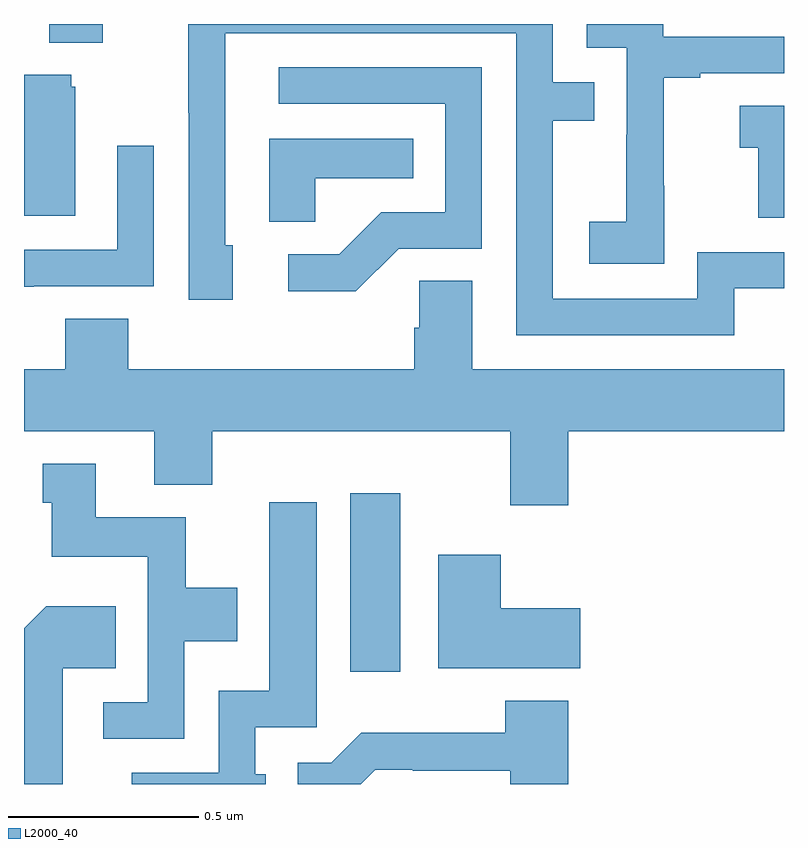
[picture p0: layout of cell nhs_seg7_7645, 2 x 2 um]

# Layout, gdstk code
import gdstk
lib = gdstk.Library(unit=1e-6, precision=1e-09)
def R(c, l, rs):  # rectangles x0, y0, x1, y1
    for r in rs: c.add(gdstk.rectangle(r[:2], r[2:], *l))
def P(c, l, *ps):  # polygons
    for p in ps: c.add(gdstk.Polygon(p, *l))
L2000_40 = (2000, 40)

nhs_seg7_7645 = lib.new_cell('nhs_seg7_7645')
R(nhs_seg7_7645, L2000_40, [(214.859,1021.296,214.99,1021.765), (214.067,1022.951,214.207,1023)])
P(nhs_seg7_7645, L2000_40, [(215.685,1022.575),(215.684,1022.575),(215.684,1022.859),(215.779,1022.859),(215.779,1022.871),(216,1022.871),(216,1022.967),(215.682,1022.967),(215.682,1023),(215.481,1023),(215.481,1022.937),(215.586,1022.937),(215.586,1022.708),(215.585,1022.708),(215.585,1022.479),(215.487,1022.479),(215.487,1022.369),(215.685,1022.369)],
  [(215.869,1022.304),(216,1022.304),(216,1022.4),(215.772,1022.4),(215.772,1022.277),(215.391,1022.277),(215.391,1022.746),(215.501,1022.746),(215.501,1022.847),(215.391,1022.847),(215.391,1023),(214.432,1023),(214.432,1022.767),(214.434,1022.767),(214.434,1022.274),(214.549,1022.274),(214.549,1022.418),(214.53,1022.418),(214.53,1022.976),(215.295,1022.976),(215.295,1022.181),(215.869,1022.181)],
  [(214.986,1022.409),(215.205,1022.409),(215.205,1022.886),(214.671,1022.886),(214.671,1022.79),(215.109,1022.79),(215.109,1022.505),(214.94,1022.505),(214.829,1022.394),(214.695,1022.394),(214.695,1022.297),(214.873,1022.297)],
  [(214.135,1022.835),(214.124,1022.835),(214.124,1022.866),(214,1022.866),(214,1022.495),(214.135,1022.495)],
  [(216,1022.785),(215.883,1022.785),(215.883,1022.675),(215.932,1022.675),(215.932,1022.49),(216,1022.49)],
  [(214.767,1022.594),(215.024,1022.594),(215.024,1022.698),(214.646,1022.698),(214.646,1022.479),(214.767,1022.479)],
  [(214.025,1022.31),(214.341,1022.31),(214.341,1022.68),(214.245,1022.68),(214.245,1022.406),(214,1022.406),(214,1022.309),(214.025,1022.309)],
  [(215.432,1021.928),(216,1021.928),(216,1022.092),(215.179,1022.092),(215.179,1022.324),(215.04,1022.324),(215.04,1022.201),(215.027,1022.201),(215.027,1022.092),(214.274,1022.092),(214.274,1022.225),(214.109,1022.225),(214.109,1022.092),(214,1022.092),(214,1021.928),(214.343,1021.928),(214.343,1021.787),(214.496,1021.787),(214.496,1021.928),(215.279,1021.928),(215.279,1021.734),(215.432,1021.734)],
  [(214.422,1021.376),(214.561,1021.376),(214.561,1021.516),(214.425,1021.516),(214.425,1021.702),(214.189,1021.702),(214.189,1021.843),(214.049,1021.843),(214.049,1021.74),(214.073,1021.74),(214.073,1021.598),(214.326,1021.598),(214.326,1021.215),(214.209,1021.215),(214.209,1021.119),(214.422,1021.119)],
  [(214.636,1021.026),(214.608,1021.026),(214.608,1021.149),(214.771,1021.149),(214.771,1021.741),(214.646,1021.741),(214.646,1021.246),(214.512,1021.246),(214.512,1021.03),(214.284,1021.03),(214.284,1021),(214.636,1021)],
  [(215.464,1021.462),(215.254,1021.462),(215.254,1021.603),(215.09,1021.603),(215.09,1021.304),(215.464,1021.304)],
  [(214.102,1021.304),(214.241,1021.304),(214.241,1021.468),(214.058,1021.468),(214,1021.41),(214,1021),(214.102,1021)],
  [(214.924,1021.038),(215.023,1021.038),(215.023,1021.035),(215.279,1021.035),(215.279,1021),(215.432,1021),(215.432,1021.219),(215.267,1021.219),(215.267,1021.135),(214.888,1021.135),(214.809,1021.056),(214.721,1021.056),(214.721,1021),(214.886,1021)])

lib.write_gds('nhs_seg7_7645.gds')
